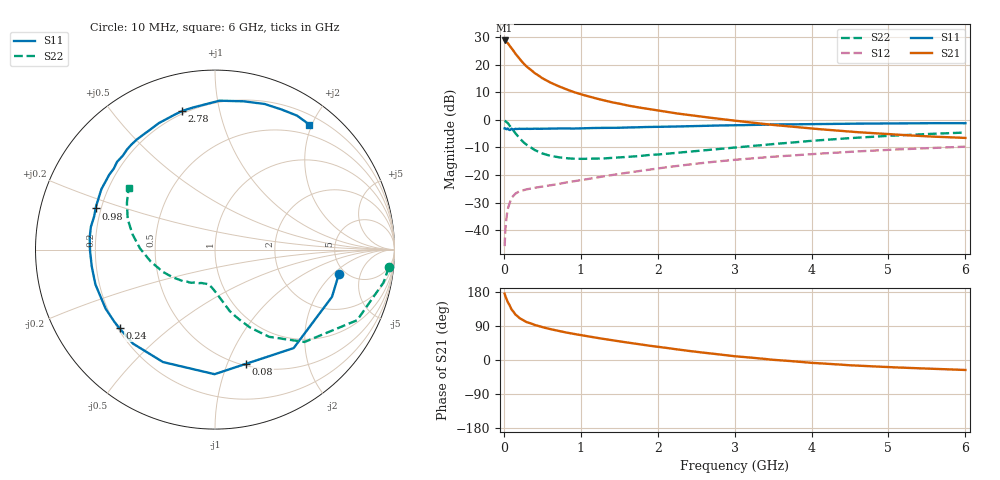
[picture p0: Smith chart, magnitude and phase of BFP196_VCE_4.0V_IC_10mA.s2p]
! Infineon Technologies  Discrete & RF Semiconductors
! BFP196
! VCE = 4.0 V,  IC =  10mA
! Common Emitter S-Parameters:  Jan 2016
# GHz  S  MA  R  50
!  f  S11  S21  S12  S22
! GHz  MAG  ANG  MAG  ANG  MAG  ANG  MAG  ANG
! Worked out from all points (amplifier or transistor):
!   210 points, 10 MHz to 6 GHz, reference 50 ohm
!   highest |S21| = 28.9 dB at 10 MHz (marker M1)
!   |S21| within 3 dB of that: start of sweep to 106.5 MHz
!   unconditionally stable (mu >= 1): 883.4 MHz to 3.376 GHz
!   at 185 MHz: K = 0.30, MSG = 24.5 dB, |S12| = -26.2 dB
!   at 1.52 GHz: K = 1.15, MAG = 10.3 dB, |S12| = -19.5 dB
!   at 6 GHz: K = 0.97, MSG = 1.6 dB, |S12| = -9.7 dB
!   S11 on the Smith chart (normalised r, x): 10 MHz: 4.38, -2.39; 80 MHz: 0.52, -1.17; 240 MHz: 0.21, -0.35; 980 MHz: 0.18, +0.16; 2.78 GHz: 0.19, +0.77; 6 GHz: 0.34, +1.96
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0.01  0.7033 -11.3  27.82 175.1  0.0051 86.2  0.9738 -5.8
0.02  0.703 -22.0  27.02 168.3  0.0102 81.0  0.9564 -11.1
0.05  0.7022 -51.4  25.01 153.2  0.0238 66.7  0.8844 -26.4
0.08  0.6593 -74.7  21.86 142.3  0.0324 55.7  0.7726 -37.1
0.1  0.6941 -90.2  20.3 133.4  0.0385 51.2  0.7167 -45.9
0.15  0.6903 -114.8  16.02 120.0  0.0459 42.1  0.5726 -58.1
0.2  0.6952 -131.1  13.08 111.1  0.0505 37.1  0.4733 -66.0
0.24  0.6895 -140.5  11.27 106.0  0.0523 34.8  0.4134 -70.7
0.3  0.6926 -151.6  9.237 99.7  0.0551 33.3  0.3512 -76.6
0.4  0.694 -163.8  7.121 92.6  0.0586 32.7  0.2851 -82.6
0.5  0.693 -172.2  5.737 86.6  0.0615 33.4  0.2466 -87.4
0.6  0.6964 -179.5  4.824 81.6  0.0648 35.1  0.2242 -91.5
0.7  0.7014 174.5  4.166 76.9  0.0683 36.6  0.2111 -95.0
0.98  0.7034 161.0  2.993 66.4  0.0798 40.1  0.1966 -102.8
1.02  0.7057 159.3  2.88 64.9  0.0814 40.7  0.1966 -104.0
1.4  0.722 144.7  2.106 52.4  0.0991 43.4  0.205 -114.2
2.02  0.7527 124.8  1.467 34.4  0.1332 43.0  0.2368 -131.1
2.78  0.7928 103.6  1.059 15.2  0.1767 38.0  0.2952 -151.6
3.1  0.8051 96.4  0.938 8.3  0.194 34.7  0.3246 -159.8
4.1  0.8432 77.5  0.681 -8.6  0.2443 24.2  0.427 177.0
5.1  0.8656 63.4  0.542 -19.6  0.2908 13.0  0.522 159.0
6  0.8726 52.9  0.472 -26.3  0.3273 2.2  0.5922 144.3
